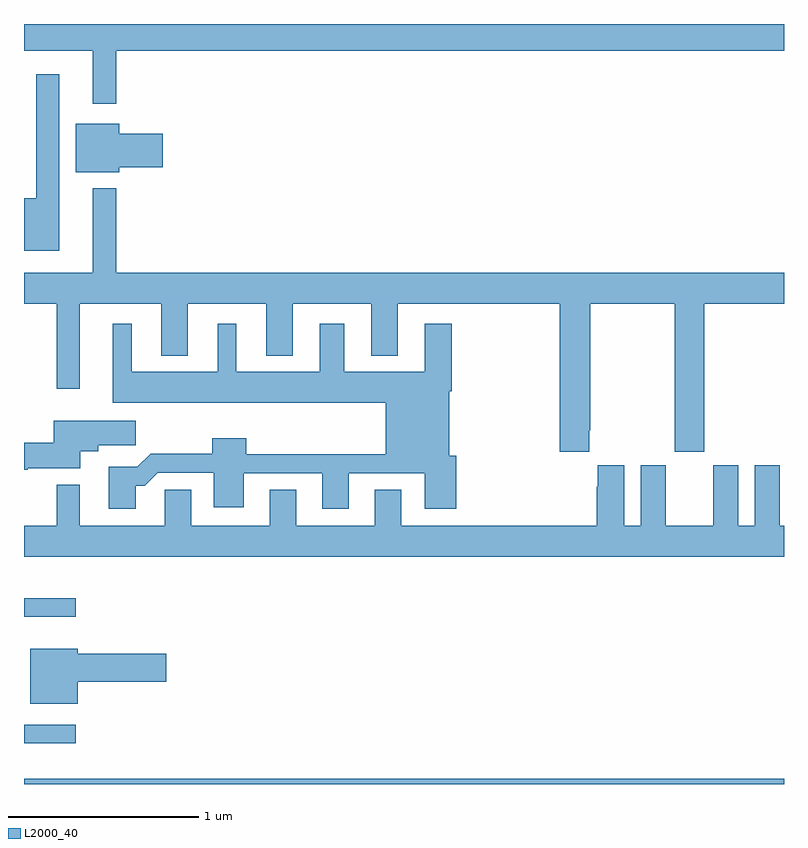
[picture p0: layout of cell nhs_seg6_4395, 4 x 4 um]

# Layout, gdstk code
import gdstk
lib = gdstk.Library(unit=1e-6, precision=1e-09)
def R(c, l, rs):  # rectangles x0, y0, x1, y1
    for r in rs: c.add(gdstk.rectangle(r[:2], r[2:], *l))
def P(c, l, *ps):  # polygons
    for p in ps: c.add(gdstk.Polygon(p, *l))
L2000_40 = (2000, 40)

nhs_seg6_4395 = lib.new_cell('nhs_seg6_4395')
R(nhs_seg6_4395, L2000_40, [(371,919.5,375,919.528), (371,919.715,371.272,919.812), (371,920.381,371.272,920.478)])
P(nhs_seg6_4395, L2000_40, [(371.485,923.36),(375,923.36),(375,923.5),(371,923.5),(371,923.36),(371.363,923.36),(371.363,923.079),(371.485,923.079)],
  [(371.185,923.236),(371.064,923.236),(371.064,922.583),(371,922.583),(371,922.307),(371.185,922.307)],
  [(371.5,922.745),(371.731,922.745),(371.731,922.923),(371.5,922.923),(371.5,922.975),(371.273,922.975),(371.273,922.721),(371.5,922.721)],
  [(371.485,922.636),(371.363,922.636),(371.363,922.192),(371,922.192),(371,922.028),(371.172,922.028),(371.172,921.579),(371.293,921.579),(371.293,922.028),(371.723,922.028),(371.723,921.755),(371.863,921.755),(371.863,922.028),(372.275,922.028),(372.275,921.755),(372.415,921.755),(372.415,922.028),(372.827,922.028),(372.827,921.755),(372.967,921.755),(372.967,922.028),(373.82,922.028),(373.82,921.249),(373.975,921.249),(373.975,921.361),(373.98,921.361),(373.98,922.028),(374.425,922.028),(374.425,921.249),(374.58,921.249),(374.58,922.028),(375,922.028),(375,922.192),(371.485,922.192)],
  [(371.587,921.071),(371.636,921.071),(371.703,921.138),(371.999,921.138),(371.999,920.957),(372.157,920.957),(372.157,921.135),(372.569,921.135),(372.569,920.949),(372.709,920.949),(372.709,921.135),(373.109,921.135),(373.109,920.949),(373.274,920.949),(373.274,921.228),(373.237,921.228),(373.237,921.566),(373.25,921.566),(373.25,921.922),(373.109,921.922),(373.109,921.67),(372.685,921.67),(372.685,921.922),(372.557,921.922),(372.557,921.67),(372.118,921.67),(372.118,921.922),(372.02,921.922),(372.02,921.67),(371.566,921.67),(371.566,921.922),(371.468,921.922),(371.468,921.506),(372.905,921.506),(372.905,921.236),(372.17,921.236),(372.17,921.319),(371.992,921.319),(371.992,921.239),(371.666,921.239),(371.596,921.169),(371.447,921.169),(371.447,920.949),(371.587,920.949)],
  [(371.02,921.161),(371.296,921.161),(371.296,921.251),(371.392,921.251),(371.392,921.283),(371.587,921.283),(371.587,921.412),(371.156,921.412),(371.156,921.296),(371,921.296),(371,921.154),(371.02,921.154)],
  [(374.246,921.178),(374.246,920.86),(374.158,920.86),(374.158,921.178),(374.021,921.178),(374.021,921.065),(374.015,921.065),(374.015,920.86),(372.985,920.86),(372.985,921.05),(372.845,921.05),(372.845,920.86),(372.433,920.86),(372.433,921.05),(372.293,921.05),(372.293,920.86),(371.881,920.86),(371.881,921.05),(371.742,921.05),(371.742,920.86),(371.293,920.86),(371.293,921.076),(371.172,921.076),(371.172,920.86),(371,920.86),(371,920.696),(375,920.696),(375,920.86),(374.977,920.86),(374.977,921.178),(374.846,921.178),(374.846,920.86),(374.758,920.86),(374.758,921.178),(374.627,921.178),(374.627,920.86),(374.377,920.86),(374.377,921.178)],
  [(371.284,920.039),(371.749,920.039),(371.749,920.186),(371.284,920.186),(371.284,920.212),(371.033,920.212),(371.033,919.922),(371.284,919.922)])

lib.write_gds('nhs_seg6_4395.gds')
